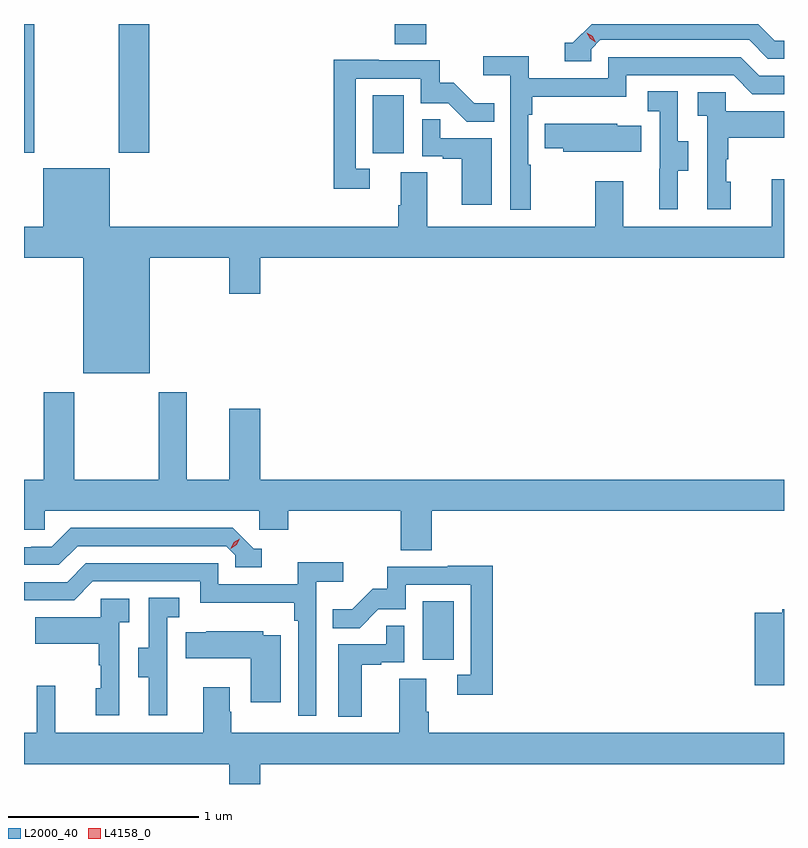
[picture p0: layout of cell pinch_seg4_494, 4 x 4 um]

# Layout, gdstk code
import gdstk
lib = gdstk.Library(unit=1e-6, precision=1e-09)
def R(c, l, rs):  # rectangles x0, y0, x1, y1
    for r in rs: c.add(gdstk.rectangle(r[:2], r[2:], *l))
def P(c, l, *ps):  # polygons
    for p in ps: c.add(gdstk.Polygon(p, *l))
L2000_40 = (2000, 40)
L4158_0 = (4158, 0)

pinch_seg4_494 = lib.new_cell('pinch_seg4_494')
R(pinch_seg4_494, L2000_40, [(957.236,766.734,957.4,767.041), (956.972,769.398,957.136,769.705), (955.137,769.401,955.191,770.079), (955.636,769.401,955.796,770.079), (957.089,769.972,957.254,770.079)])
P(pinch_seg4_494, L2000_40, [(958.122,769.947),(958.17,769.995),(958.953,769.995),(959.052,769.896),(959.137,769.896),(959.137,769.992),(959.089,769.992),(959.002,770.079),(958.125,770.079),(958.026,769.98),(957.983,769.98),(957.983,769.884),(958.122,769.884)],
  [(957.805,769.337),(957.792,769.337),(957.792,769.601),(957.811,769.601),(957.811,769.697),(958.308,769.697),(958.308,769.809),(958.872,769.809),(958.971,769.71),(959.137,769.71),(959.137,769.806),(959.008,769.806),(958.909,769.905),(958.212,769.905),(958.212,769.794),(957.794,769.794),(957.794,769.91),(957.555,769.91),(957.555,769.808),(957.696,769.808),(957.696,769.101),(957.805,769.101)],
  [(956.956,769.317),(956.883,769.317),(956.883,769.791),(957.225,769.791),(957.225,769.662),(957.369,769.662),(957.467,769.564),(957.611,769.564),(957.611,769.663),(957.507,769.663),(957.4,769.77),(957.324,769.77),(957.324,769.887),(957.005,769.887),(957.005,769.892),(956.767,769.892),(956.767,769.212),(956.956,769.212)],
  [(958.579,769.306),(958.633,769.306),(958.633,769.461),(958.578,769.461),(958.578,769.724),(958.419,769.724),(958.419,769.621),(958.482,769.621),(958.482,769.317),(958.481,769.317),(958.481,769.104),(958.579,769.104)],
  [(958.858,769.248),(958.833,769.248),(958.833,769.367),(958.843,769.367),(958.843,769.481),(959.137,769.481),(959.137,769.621),(958.83,769.621),(958.83,769.719),(958.683,769.719),(958.683,769.595),(958.734,769.595),(958.734,769.104),(958.858,769.104)],
  [(957.598,769.479),(957.329,769.479),(957.329,769.577),(957.234,769.577),(957.234,769.383),(957.341,769.383),(957.341,769.371),(957.44,769.371),(957.44,769.128),(957.598,769.128)],
  [(958.385,769.543),(958.26,769.543),(958.26,769.555),(957.877,769.555),(957.877,769.426),(957.975,769.426),(957.975,769.406),(958.385,769.406)],
  [(955.798,768.848),(956.216,768.848),(956.216,768.66),(956.38,768.66),(956.38,768.848),(959.137,768.848),(959.137,769.261),(959.072,769.261),(959.072,769.012),(958.291,769.012),(958.291,769.252),(958.144,769.252),(958.144,769.012),(957.259,769.012),(957.259,769.298),(957.119,769.298),(957.119,769.124),(957.107,769.124),(957.107,769.012),(955.588,769.012),(955.588,769.321),(955.238,769.321),(955.238,769.012),(955.137,769.012),(955.137,768.848),(955.448,768.848),(955.448,768.242),(955.798,768.242)],
  [(957.284,767.516),(959.137,767.516),(959.137,767.68),(956.38,767.68),(956.38,768.055),(956.216,768.055),(956.216,767.68),(955.993,767.68),(955.993,768.142),(955.846,768.142),(955.846,767.68),(955.401,767.68),(955.401,768.142),(955.241,768.142),(955.241,767.68),(955.137,767.68),(955.137,767.418),(955.245,767.418),(955.245,767.516),(956.376,767.516),(956.376,767.418),(956.528,767.418),(956.528,767.516),(957.119,767.516),(957.119,767.308),(957.284,767.308)],
  [(956.389,767.316),(956.346,767.316),(956.235,767.427),(955.382,767.427),(955.283,767.328),(955.176,767.328),(955.176,767.325),(955.137,767.325),(955.137,767.232),(955.32,767.232),(955.419,767.331),(956.202,767.331),(956.25,767.283),(956.25,767.22),(956.389,767.22)],
  [(956.676,767.144),(956.818,767.144),(956.818,767.246),(956.579,767.246),(956.579,767.13),(956.16,767.13),(956.16,767.241),(955.463,767.241),(955.364,767.142),(955.137,767.142),(955.137,767.046),(955.401,767.046),(955.5,767.145),(956.064,767.145),(956.064,767.033),(956.56,767.033),(956.56,766.937),(956.58,766.937),(956.58,766.437),(956.676,766.437)],
  [(957.605,767.228),(957.367,767.228),(957.367,767.223),(957.049,767.223),(957.049,767.106),(956.972,767.106),(956.865,766.999),(956.761,766.999),(956.761,766.9),(956.904,766.9),(957.002,766.998),(957.147,766.998),(957.147,767.127),(957.489,767.127),(957.489,766.653),(957.417,766.653),(957.417,766.548),(957.605,766.548)],
  [(955.892,766.653),(955.89,766.653),(955.89,766.957),(955.954,766.957),(955.954,767.06),(955.794,767.06),(955.794,766.797),(955.739,766.797),(955.739,766.642),(955.793,766.642),(955.793,766.44),(955.892,766.44)],
  [(955.638,766.931),(955.69,766.931),(955.69,767.055),(955.542,767.055),(955.542,766.957),(955.195,766.957),(955.195,766.817),(955.53,766.817),(955.53,766.703),(955.54,766.703),(955.54,766.584),(955.514,766.584),(955.514,766.44),(955.638,766.44)],
  [(959.137,767),(959.128,767),(959.128,766.98),(958.982,766.98),(958.982,766.599),(959.137,766.599)],
  [(956.914,766.707),(957.017,766.707),(957.017,766.719),(957.138,766.719),(957.138,766.913),(957.043,766.913),(957.043,766.815),(956.792,766.815),(956.792,766.433),(956.914,766.433)],
  [(956.488,766.861),(956.397,766.861),(956.397,766.882),(956.095,766.882),(956.095,766.879),(955.987,766.879),(955.987,766.742),(956.33,766.742),(956.33,766.509),(956.488,766.509)],
  [(956.38,766.184),(959.137,766.184),(959.137,766.348),(957.266,766.348),(957.266,766.46),(957.253,766.46),(957.253,766.634),(957.113,766.634),(957.113,766.348),(956.229,766.348),(956.229,766.46),(956.221,766.46),(956.221,766.588),(956.081,766.588),(956.081,766.348),(955.301,766.348),(955.301,766.597),(955.203,766.597),(955.203,766.348),(955.137,766.348),(955.137,766.184),(956.216,766.184),(956.216,766.079),(956.38,766.079)])
P(pinch_seg4_494, L4158_0, [(958.147,769.982),(958.116,770.001),(958.1,770.034),(958.1,770.034),(958.1,770.034),(958.131,770.015),(958.147,769.982),(958.147,769.982)],
  [(956.225,767.318),(956.225,767.319),(956.241,767.351),(956.272,767.37),(956.272,767.37),(956.272,767.369),(956.256,767.337),(956.225,767.318)])

lib.write_gds('pinch_seg4_494.gds')
